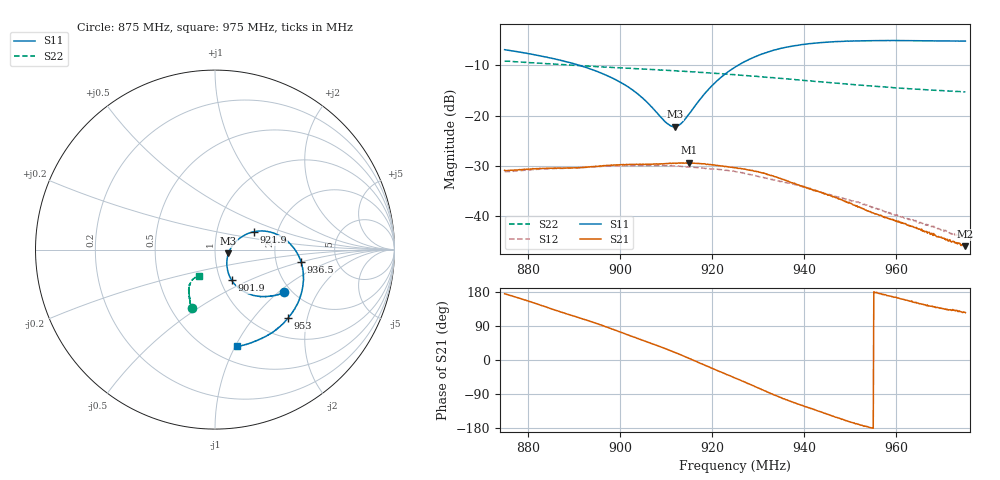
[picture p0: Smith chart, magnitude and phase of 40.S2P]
! C:\Users\rflab\Downloads\Lab5_KD_ZW\Q3\40.S2P
! Touchstone 1.1 file saved by VNA.EXE V1.65 (www.ke5fx.com/gpib/readme.htm)
! 11/18/2024 10:22:26 PM
!  Source: HEWLETT PACKARD,8753D,0,6.14
!  Min freq: 8.750000E+008 Hz
!  Max freq: 9.750200E+008 Hz
!  Points: 801
!  Params: S11 S21 S12 S22
# GHZ S MA R 50
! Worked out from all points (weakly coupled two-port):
!   801 points, 875 MHz to 975 MHz, reference 50 ohm
!   highest |S21| = -29.42 dB at 915.1 MHz (marker M1); lowest = -46.1 dB at 974.9 MHz (marker M2)
!   lowest |S11| = -22.2 dB at 912 MHz (marker M3), VSWR 1.17, Z = 58 - j2.48 ohm
!   |S11| at or under -10 dB: 891.3 MHz to 925.6 MHz (34.3 MHz wide, 3.78 % of centre)
!   |S22| runs from -15.3 to -9.1 dB; largest |S21 - S12| = 0.0058
!   S11 on the Smith chart (normalised r, x): 875 MHz: 1.83, -1.10; 901.9 MHz: 1.13, -0.40; 921.9 MHz: 1.51, +0.32; 936.5 MHz: 2.77, -0.51; 953 MHz: 1.38, -1.53; 975 MHz: 0.66, -1.02
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0.875  0.4547 -31.6  0.02837 174.8  0.02741 -174.3  0.3491 -111.9
0.8837517  0.3863 -42.7  0.02959 140.9  0.02924 149.5  0.3311 -114.5
0.8917534  0.3119 -52.3  0.03021 108.9  0.03018 116.4  0.3147 -116.6
0.8975045  0.2472 -58.8  0.03183 85.5  0.03134 91.2  0.3035 -117.8
0.9018804  0.1925 -61.4  0.03232 66.0  0.03152 71.1  0.297 -118.8
0.905131  0.1468 -60.0  0.03255 51.2  0.03162 56.2  0.2912 -119.6
0.9083817  0.1027 -50.1  0.03275 36.7  0.03154 41.4  0.2863 -120.6
0.9105071  0.08204 -33.5  0.03312 27.2  0.03131 31.1  0.2822 -121.0
0.9120074  0.07727 -16.0  0.03344 19.6  0.0313 23.7  0.2802 -121.3
0.9133827  0.08403 0.6  0.03364 12.7  0.031 17.2  0.2771 -121.5
0.915133  0.1048 15.4  0.03379 3.8  0.0306 8.5  0.2747 -122.1
0.9186337  0.1697 25.8  0.03268 -14.7  0.02952 -7.9  0.2684 -123.0
0.9218844  0.2387 24.6  0.03144 -31.2  0.02885 -23.4  0.2614 -123.9
0.92501  0.3047 19.5  0.0301 -47.6  0.02752 -39.2  0.2555 -124.6
0.9302611  0.4007 7.3  0.02714 -74.9  0.02443 -64.8  0.2443 -125.6
0.9365123  0.4847 -8.4  0.02211 -106.8  0.02113 -92.9  0.2319 -126.5
0.9417633  0.5249 -20.7  0.01823 -128.7  0.01813 -115.8  0.2207 -126.8
0.9530156  0.5578 -43.2  0.01167 -174.9  0.01291 -160.9  0.1999 -126.3
0.9583917  0.5623 -52.4  0.009378 169.6  0.01075 178.7  0.1914 -125.5
0.9667684  0.5577 -65.3  0.006678 145.2  0.008127 152.2  0.1806 -123.9
0.974895  0.5529 -76.8  0.004956 126.2  0.006022 130.5  0.1724 -121.8
0.97502  0.5539 -76.9  0.004977 124.7  0.00602 130.6  0.1723 -121.7
